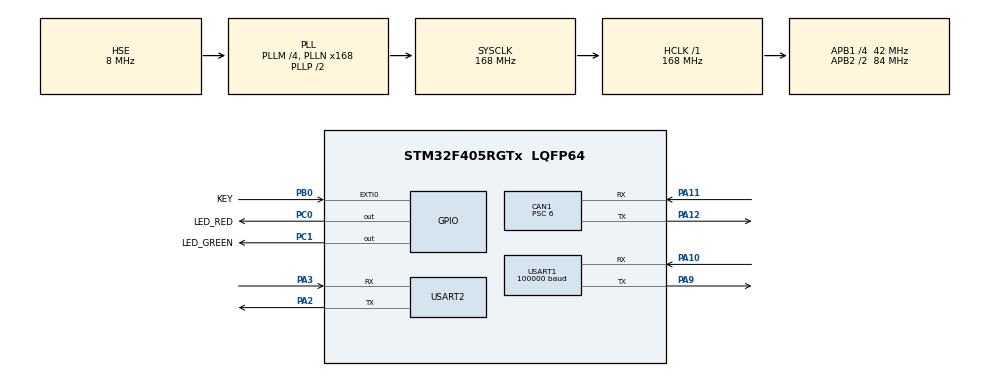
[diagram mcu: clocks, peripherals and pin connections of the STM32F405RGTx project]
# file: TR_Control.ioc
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Mcu.Family=STM32F4
PH0-OSC_IN.Signal=RCC_OSC_IN
RCC.CortexFreq_Value=168000000
Dma.USART2_TX.1.MemInc=DMA_MINC_ENABLE
USART1.BaudRate=100000
Dma.USART1_RX.2.Instance=DMA2_Stream2
PC0.GPIO_Label=LED_RED
PA11.Mode=Master
PB0.GPIO_Label=KEY
RCC.SYSCLKSource=RCC_SYSCLKSOURCE_PLLCLK
ProjectManager.StackSize=0x400
FREERTOS.INCLUDE_pcTaskGetTaskName=1
PA12.Signal=CAN1_TX
Dma.USART2_RX.0.Priority=DMA_PRIORITY_LOW
Dma.USART2_RX.0.PeriphDataAlignment=DMA_PDATAALIGN_BYTE
RCC.HCLKFreq_Value=168000000
RCC.APB2TimFreq_Value=168000000
TIM3.Period=999
Dma.USART2_TX.1.Mode=DMA_NORMAL
PC1.PinState=GPIO_PIN_SET
RCC.AHBFreq_Value=168000000
PH0-OSC_IN.Mode=HSE-External-Oscillator
RCC.HSE_VALUE=8000000
PC1.GPIO_PuPd=GPIO_PULLUP
Dma.USART2_RX.0.MemDataAlignment=DMA_MDATAALIGN_BYTE
FREERTOS.INCLUDE_xQueueGetMutexHolder=1
PA14.Mode=Serial_Wire
Dma.USART2_TX.1.Instance=DMA1_Stream6
TIM3.Prescaler=83
Dma.USART2_RX.0.Instance=DMA1_Stream5
VP_FREERTOS_VS_CMSIS_V1.Mode=CMSIS_V1
PH1-OSC_OUT.Mode=HSE-External-Oscillator
CAN1.Prescaler=6
Mcu.Package=LQFP64
Dma.USART2_RX.0.PeriphInc=DMA_PINC_DISABLE
USART2.VirtualMode=VM_ASYNC
Dma.USART2_RX.0.FIFOMode=DMA_FIFOMODE_DISABLE
PA10.Signal=USART1_RX
RCC.APB2CLKDivider=RCC_HCLK_DIV2
NVIC.DMA2_Stream2_IRQn=true\:5\:0\:false\:false\:true\:true\:false\:true
Dma.Request2=USART1_RX
Dma.Request1=USART2_TX
RCC.APB1TimFreq_Value=84000000
PC0.GPIO_PuPd=GPIO_PULLUP
NVIC.USART1_IRQn=true\:5\:0\:false\:false\:true\:true\:true\:true
NVIC.DMA1_Stream6_IRQn=true\:5\:0\:false\:false\:true\:true\:false\:true
Dma.Request0=USART2_RX
PC0.PinState=GPIO_PIN_SET
VP_TIM3_VS_ClockSourceINT.Mode=Internal
Dma.USART1_RX.2.MemDataAlignment=DMA_MDATAALIGN_BYTE
PA3.Signal=USART2_RX
CAN1.CalculateTimeQuantum=142.85714285714286
RCC.PLLSourceVirtual=RCC_PLLSOURCE_HSE
Dma.USART2_TX.1.Priority=DMA_PRIORITY_LOW
FREERTOS.Tasks01=defaultTask,-3,128,StartDefaultTask,Default,NULL,Dynamic,NULL,NULL;start_Task,0,128,StartTask02,Default,NULL,Dynamic,NULL,NULL
PA10.Mode=Asynchronous
Dma.USART2_TX.1.FIFOMode=DMA_FIFOMODE_DISABLE
TIM3.AutoReloadPreload=TIM_AUTORELOAD_PRELOAD_ENABLE
FREERTOS.INCLUDE_vTaskDelayUntil=1
Dma.USART2_RX.0.Direction=DMA_PERIPH_TO_MEMORY
PC0.Signal=GPIO_Output
RCC.APB1CLKDivider=RCC_HCLK_DIV4
Dma.USART2_TX.1.PeriphDataAlignment=DMA_PDATAALIGN_BYTE
Dma.USART1_RX.2.PeriphInc=DMA_PINC_DISABLE
NVIC.USART2_IRQn=true\:5\:0\:false\:false\:true\:true\:true\:true
Dma.USART2_RX.0.Mode=DMA_NORMAL
FREERTOS.INCLUDE_uxTaskGetStackHighWaterMark=0
PA13.Signal=SYS_JTMS-SWDIO
PA3.Mode=Asynchronous
PA9.Mode=Asynchronous
CAN1.BS1=CAN_BS1_7TQ
FREERTOS.configMAX_PRIORITIES=7
ProjectManager.TargetToolchain=MDK-ARM V5.27
NVIC.DMA1_Stream5_IRQn=true\:5\:0\:false\:false\:true\:true\:false\:true
Dma.USART1_RX.2.Mode=DMA_NORMAL
Dma.USART1_RX.2.PeriphDataAlignment=DMA_PDATAALIGN_BYTE
PA9.Signal=USART1_TX
USART1.Parity=PARITY_EVEN
RCC.LSE_VALUE=32768
Dma.USART2_TX.1.PeriphInc=DMA_PINC_DISABLE
board=custom
Dma.USART1_RX.2.FIFOMode=DMA_FIFOMODE_DISABLE
RCC.VCOOutputFreq_Value=336000000
Dma.USART1_RX.2.Priority=DMA_PRIORITY_VERY_HIGH
NVIC.TIM3_IRQn=true\:5\:0\:false\:false\:true\:true\:true\:true
Dma.USART2_TX.1.Direction=DMA_MEMORY_TO_PERIPH
RCC.APB2Freq_Value=84000000
Dma.USART1_RX.2.Direction=DMA_PERIPH_TO_MEMORY
USART1.Mode=MODE_RX
PC1.GPIO_Label=LED_GREEN
PH1-OSC_OUT.Signal=RCC_OSC_OUT
PA13.Mode=Serial_Wire
Mcu.Name=STM32F405RGTx
Dma.USART2_RX.0.MemInc=DMA_MINC_ENABLE
Dma.USART1_RX.2.MemInc=DMA_MINC_ENABLE
FREERTOS.INCLUDE_xSemaphoreGetMutexHolder=1
PA2.Signal=USART2_TX
RCC.48MHZClocksFreq_Value=84000000
NVIC.EXTI0_IRQn=true\:5\:0\:false\:false\:true\:true\:true\:true
RCC.SYSCLKFreq_VALUE=168000000
PA12.Mode=Master
USART1.VirtualMode=VM_ASYNC
PA11.Signal=CAN1_RX
PA14.Signal=SYS_JTCK-SWCLK
ProjectManager.HeapSize=0x200
RCC.HSI_VALUE=16000000
NVIC.PriorityGroup=NVIC_PRIORITYGROUP_4
RCC.PLLM=4
RCC.PLLN=168
PA2.Mode=Asynchronous
Dma.USART2_TX.1.MemDataAlignment=DMA_MDATAALIGN_BYTE
RCC.APB1Freq_Value=42000000
PB0.Signal=GPXTI0
PC1.Signal=GPIO_Output
NVIC.CAN1_RX0_IRQn=true\:5\:0\:false\:false\:true\:true\:true\:true

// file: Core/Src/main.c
/* USER CODE BEGIN Header */
/**
  ******************************************************************************
  * @file           : main.c
  * @brief          : Main program body
  ******************************************************************************
  * @attention
  *
  * <h2><center>&copy; Copyright (c) 2020 STMicroelectronics.
  * All rights reserved.</center></h2>
  *
  * This software component is licensed by ST under BSD 3-Clause license,
  * the "License"; You may not use this file except in compliance with the
  * License. You may obtain a copy of the License at:
  *                        opensource.org/licenses/BSD-3-Clause
  *
  ******************************************************************************
  */
/* USER CODE END Header */
#include "main.h"
#include "cmsis_os.h"
#include "can.h"
#include "dma.h"
#include "tim.h"
#include "usart.h"
#include "gpio.h"

/* USER CODE BEGIN Includes */
#include "robo_base.h"
#include "remote.h"
#include "chassis_control.h"
#include "uart_communicate.h"
/* USER CODE END Includes */

/* USER CODE BEGIN PV */
uint32_t SYS_Time=0;
int Flag=0;
extern ROBO_BASE Robo_Base;
/* USER CODE END PV */

void SystemClock_Config(void);
void MX_FREERTOS_Init(void);

int main(void)
{

  /* MCU Configuration--------------------------------------------------------*/

  /* Reset of all peripherals, Initializes the Flash interface and the Systick. */
  HAL_Init();

  /* Configure the system clock */
  SystemClock_Config();

  /* Initialize all configured peripherals */
  MX_GPIO_Init();
  MX_DMA_Init();
  MX_CAN1_Init();
  MX_TIM3_Init();
  MX_USART2_UART_Init();
  MX_USART1_UART_Init();
  /* USER CODE BEGIN 2 */
  CAN_Filter_Init();
  HAL_TIM_Base_Start_IT(&htim3);
  HAL_CAN_Start(&hcan1);
  HAL_CAN_ActivateNotification(&hcan1,CAN_IT_RX_FIFO0_MSG_PENDING);
	BASE_Init(&Robo_Base);
  Usart_All_Init();
/************************************************************************************/
/************************************************************************************/
  /* USER CODE END 2 */

  /* Call init function for freertos objects (in freertos.c) */
  MX_FREERTOS_Init();
  /* Start scheduler */
  osKernelStart();

  /* We should never get here as control is now taken by the scheduler */
  /* Infinite loop */
	while (1)
  {

  }
}

void SystemClock_Config(void)
{
  RCC_OscInitTypeDef RCC_OscInitStruct = {0};
  RCC_ClkInitTypeDef RCC_ClkInitStruct = {0};

  /** Configure the main internal regulator output voltage
  */
  __HAL_RCC_PWR_CLK_ENABLE();
  __HAL_PWR_VOLTAGESCALING_CONFIG(PWR_REGULATOR_VOLTAGE_SCALE1);
  /** Initializes the RCC Oscillators according to the specified parameters
  * in the RCC_OscInitTypeDef structure.
  */
  RCC_OscInitStruct.OscillatorType = RCC_OSCILLATORTYPE_HSE;
  RCC_OscInitStruct.HSEState = RCC_HSE_ON;
  RCC_OscInitStruct.PLL.PLLState = RCC_PLL_ON;
  RCC_OscInitStruct.PLL.PLLSource = RCC_PLLSOURCE_HSE;
  RCC_OscInitStruct.PLL.PLLM = 4;
  RCC_OscInitStruct.PLL.PLLN = 168;
  RCC_OscInitStruct.PLL.PLLP = RCC_PLLP_DIV2;
  RCC_OscInitStruct.PLL.PLLQ = 4;
  if (HAL_RCC_OscConfig(&RCC_OscInitStruct) != HAL_OK)
  {
    Error_Handler();
  }
  /** Initializes the CPU, AHB and APB buses clocks
  */
  RCC_ClkInitStruct.ClockType = RCC_CLOCKTYPE_HCLK|RCC_CLOCKTYPE_SYSCLK
                              |RCC_CLOCKTYPE_PCLK1|RCC_CLOCKTYPE_PCLK2;
  RCC_ClkInitStruct.SYSCLKSource = RCC_SYSCLKSOURCE_PLLCLK;
  RCC_ClkInitStruct.AHBCLKDivider = RCC_SYSCLK_DIV1;
  RCC_ClkInitStruct.APB1CLKDivider = RCC_HCLK_DIV4;
  RCC_ClkInitStruct.APB2CLKDivider = RCC_HCLK_DIV2;

  if (HAL_RCC_ClockConfig(&RCC_ClkInitStruct, FLASH_LATENCY_5) != HAL_OK)
  {
    Error_Handler();
  }
}

/* USER CODE BEGIN 4 */
void Send_To_Motor(void)
{
  CAN_TxHeaderTypeDef TxHeader;
  extern uint8_t Tx_Data[8];
  uint32_t TxMailbox;

  TxHeader.RTR = 0;
  TxHeader.IDE = 0;
  TxHeader.StdId=0x200;
  TxHeader.TransmitGlobalTime = DISABLE;
  TxHeader.DLC = 8;

  if (HAL_CAN_AddTxMessage(&hcan1, &TxHeader, Tx_Data, &TxMailbox) != HAL_OK)
  {
   /* Transmission request Error */
     Error_Handler();
  }
}
/* USER CODE END 4 */

void Error_Handler(void)
{
}

/************************ (C) COPYRIGHT STMicroelectronics *****END OF FILE****/

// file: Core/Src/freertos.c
/* USER CODE BEGIN Header */
/**
  ******************************************************************************
  * File Name          : freertos.c
  * Description        : Code for freertos applications
  ******************************************************************************
  * @attention
  *
  * <h2><center>&copy; Copyright (c) 2020 STMicroelectronics.
  * All rights reserved.</center></h2>
  *
  * This software component is licensed by ST under Ultimate Liberty license
  * SLA0044, the "License"; You may not use this file except in compliance with
  * the License. You may obtain a copy of the License at:
  *                             www.st.com/SLA0044
  *
  ******************************************************************************
  */
/* USER CODE END Header */

#include "FreeRTOS.h"
#include "task.h"
#include "main.h"
#include "cmsis_os.h"
#include "chassis_control.h"

osThreadId defaultTaskHandle;
osThreadId start_TaskHandle;

/* USER CODE BEGIN FunctionPrototypes */
void Chassis_Task(void *param);
/* USER CODE END FunctionPrototypes */

void StartDefaultTask(void const * argument);
void StartTask02(void const * argument);

void MX_FREERTOS_Init(void); /* (MISRA C 2004 rule 8.1) */

/* GetIdleTaskMemory prototype (linked to static allocation support) */
void vApplicationGetIdleTaskMemory( StaticTask_t **ppxIdleTaskTCBBuffer, StackType_t **ppxIdleTaskStackBuffer, uint32_t *pulIdleTaskStackSize );

/* USER CODE BEGIN GET_IDLE_TASK_MEMORY */
static StaticTask_t xIdleTaskTCBBuffer;
static StackType_t xIdleStack[configMINIMAL_STACK_SIZE];

void vApplicationGetIdleTaskMemory( StaticTask_t **ppxIdleTaskTCBBuffer, StackType_t **ppxIdleTaskStackBuffer, uint32_t *pulIdleTaskStackSize )
{
  *ppxIdleTaskTCBBuffer = &xIdleTaskTCBBuffer;
  *ppxIdleTaskStackBuffer = &xIdleStack[0];
  *pulIdleTaskStackSize = configMINIMAL_STACK_SIZE;
  /* place for user code */
}
/* USER CODE END GET_IDLE_TASK_MEMORY */

void MX_FREERTOS_Init(void) {

  /* Create the thread(s) */
  /* definition and creation of defaultTask */
  osThreadDef(defaultTask, StartDefaultTask, osPriorityIdle, 0, 128);
  defaultTaskHandle = osThreadCreate(osThread(defaultTask), NULL);

  /* definition and creation of start_Task */
  osThreadDef(start_Task, StartTask02, osPriorityNormal, 0, 128);
  start_TaskHandle = osThreadCreate(osThread(start_Task), NULL);

}

void StartDefaultTask(void const * argument)
{
  /* USER CODE BEGIN StartDefaultTask */
  /* Infinite loop */
  for(;;)
  {

    osDelay(4);
  }
  /* USER CODE END StartDefaultTask */
}

void StartTask02(void const * argument)
{
  /* USER CODE BEGIN StartTask02 */
  /* Infinite loop */
  for(;;)
  {
			chassis_control();
      osDelay(4);
  }
  /* USER CODE END StartTask02 */
}

/* USER CODE END Application */

/************************ (C) COPYRIGHT STMicroelectronics *****END OF FILE****/
